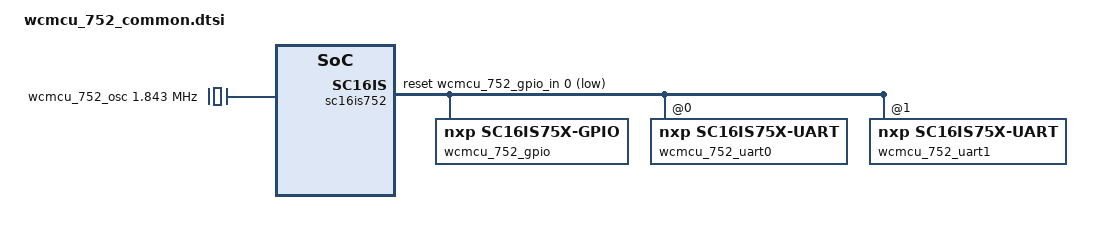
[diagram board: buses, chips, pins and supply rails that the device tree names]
/*
 * Copyright (c) 2024 TiaC Systems
 * SPDX-License-Identifier: Apache-2.0
 */

/ {
    wcmcu_752_osc: wcmcu-752-osc {
        status = "okay";
        compatible = "fixed-clock";
        #clock-cells = < 0 >;
        clock-frequency = < 1843200 >;
    };
};

&sc16is752 {

    reset-gpios = < &wcmcu_752_gpio_in 0 GPIO_ACTIVE_LOW >;
    interrupt-gpios = <&wcmcu_752_gpio_in 1 GPIO_ACTIVE_LOW >;
    bus-select-gpios = <&wcmcu_752_gpio_in 2 0 >;
    clock = < &wcmcu_752_osc >;
    
    #address-cells = < 1 >;
    #size-cells = < 0 >;
    
    wcmcu_752_gpio: sc16is752-gpio {
        
        status = "okay";
        compatible = "nxp,sc16is75x-gpio";
        
        gpio-controller;
        #gpio-cells = < 2 >;
        ngpios = < 8 >;
    };
    
    wcmcu_752_uart0: sc16is752-uart@0 {
        status = "okay";
        compatible = "nxp,sc16is75x-uart";
        reg = < 0 >;
        
        current-speed = < 38400 >;
        data-bits = < 8 >;
        hw-flow-control;
    };
    
    wcmcu_752_uart1: sc16is752-uart@1 {
        status = "okay";
        compatible = "nxp,sc16is75x-uart";
        reg = < 1 >;
        
        current-speed = < 38400 >;
        data-bits = < 8 >;
        hw-flow-control;
    };
};
